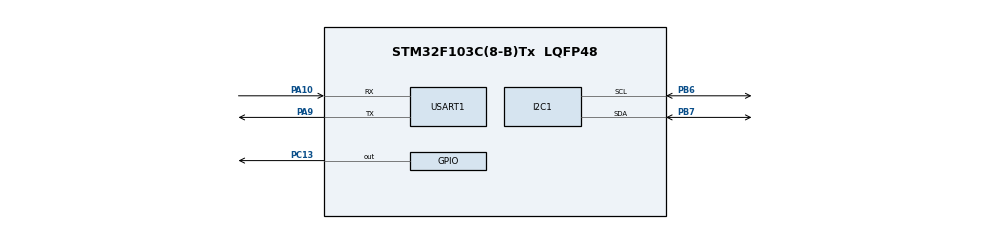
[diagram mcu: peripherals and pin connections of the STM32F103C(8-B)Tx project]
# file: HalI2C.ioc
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Mcu.Family=STM32F1
Mcu.Name=STM32F103C(8-B)Tx
Mcu.Package=LQFP48
NVIC.PriorityGroup=NVIC_PRIORITYGROUP_4
NVIC.USART1_IRQn=true\:0\:0\:false\:false\:true\:true\:true
PA10.Mode=Asynchronous
PA10.Signal=USART1_RX
PA13.Mode=Serial_Wire
PA13.Signal=SYS_JTMS-SWDIO
PA14.Mode=Serial_Wire
PA14.Signal=SYS_JTCK-SWCLK
PA9.Mode=Asynchronous
PA9.Signal=USART1_TX
PB6.Mode=I2C
PB6.Signal=I2C1_SCL
PB7.Mode=I2C
PB7.Signal=I2C1_SDA
PC13-TAMPER-RTC.PinState=GPIO_PIN_SET
PC13-TAMPER-RTC.Signal=GPIO_Output
ProjectManager.HeapSize=0x200
ProjectManager.StackSize=0x400
ProjectManager.TargetToolchain=Makefile
RCC.APB1Freq_Value=8000000
RCC.APB2Freq_Value=8000000
USART1.VirtualMode=VM_ASYNC
board=custom

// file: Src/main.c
/* USER CODE BEGIN Header */
/**
  ******************************************************************************
  * @file           : main.c
  * @brief          : Main program body
  ******************************************************************************
  * @attention
  *
  * <h2><center>&copy; Copyright (c) 2020 STMicroelectronics.
  * All rights reserved.</center></h2>
  *
  * This software component is licensed by ST under BSD 3-Clause license,
  * the "License"; You may not use this file except in compliance with the
  * License. You may obtain a copy of the License at:
  *                        opensource.org/licenses/BSD-3-Clause
  *
  ******************************************************************************
  */
/* USER CODE END Header */
#include "main.h"

/* USER CODE BEGIN Includes */
#include "rain64.h"
#include <string.h>
/* USER CODE END Includes */

/* USER CODE BEGIN PD */
#define OLED_ADDR 0x3c << 1
#define CMD_ADDR 0x00
#define DATA_ADDR 0x40

#define PIX_PER_COL 8
//#define PAGES_PER_SCREEN 4
#define PAGES_PER_SCREEN 8
#define COLS_PER_PAGE 128
#define WIDTH COLS_PER_PAGE
#define HEIGHT PIX_PER_COL * PAGES_PER_SCREEN
/* USER CODE END PD */

I2C_HandleTypeDef hi2c1;

UART_HandleTypeDef huart1;

void SystemClock_Config(void);
static void MX_GPIO_Init(void);
static void MX_USART1_UART_Init(void);
static void MX_I2C1_Init(void);

/* USER CODE BEGIN 0 */
void write_cmd_oled(uint8_t cmd)
{
    //Send command one byte at at time
    HAL_I2C_Mem_Write(&hi2c1,OLED_ADDR, CMD_ADDR, 1, &cmd, 1, 100);
}

void write_data_oled(uint8_t* dataBuffer, size_t dataSize)
{
    //Send command one byte at at time
    HAL_I2C_Mem_Write(&hi2c1,OLED_ADDR, DATA_ADDR, 1, dataBuffer, dataSize, 100);
}
/* USER CODE END 0 */

int main(void)
{

  /* MCU Configuration--------------------------------------------------------*/

  /* Reset of all peripherals, Initializes the Flash interface and the Systick. */
  HAL_Init();

  /* Configure the system clock */
  SystemClock_Config();

  /* Initialize all configured peripherals */
  MX_GPIO_Init();
  MX_USART1_UART_Init();
  MX_I2C1_Init();
  /* USER CODE BEGIN 2 */

  // For 32 lines
//  uint8_t mux_lines = 0x1f;
//  uint8_t com_conf = 0x02;
  // For 64 lines
   uint8_t mux_lines = 0x3f;
   uint8_t com_conf = 0x12;

  uint8_t turn_on = 0xAF;
  uint8_t turn_off = 0xAE;
  write_cmd_oled(turn_off);
  //Set Memory addressing type
  write_cmd_oled(0x20);
  write_cmd_oled(0x00);
  //Set memory page start
  write_cmd_oled(0xB0);
  //Mirroring
  write_cmd_oled(0xC8);
  write_cmd_oled(0xa1);

  //set columna low and high addr
  write_cmd_oled(0x00);
  write_cmd_oled(0x10);
  //Display start line : 0 -63 40 for 0
  write_cmd_oled(0x40);
  //Contrast
  write_cmd_oled(0x81);
  write_cmd_oled(0xFF);
  //Set mux
  write_cmd_oled(0xa8);
  write_cmd_oled(mux_lines);
  //Follow RAM
  write_cmd_oled(0xA4);
  //No offset
  write_cmd_oled(0xD3);
  write_cmd_oled(0x00);

  //timing
  //OScilattor freq
  write_cmd_oled(0xD5);
  write_cmd_oled(0xF0);
  //Pre-charge
  write_cmd_oled(0xD9);
  write_cmd_oled(0x22);
  //Com pins
  write_cmd_oled(0xDA);
  write_cmd_oled(com_conf);

  //Turn on
  //Vcomh
  write_cmd_oled(0xDB);
  write_cmd_oled(0x20);
  //Charge pump
  write_cmd_oled(0x8D);
  write_cmd_oled(0x14);
  write_cmd_oled(turn_on);
  HAL_GPIO_WritePin(GPIOC, GPIO_PIN_13, GPIO_PIN_SET);

  /* USER CODE END 2 */

  /* Infinite loop */
  /* USER CODE BEGIN WHILE */
  size_t buff_len = COLS_PER_PAGE*PAGES_PER_SCREEN; //128*4
  uint8_t buffer[buff_len];
  for(int j=0;j < buff_len; j++)
  {
   buffer[j]=0x01;
  }

  //Image?
  size_t line_len = 128;
  for(int k = 0 ; k<PAGES_PER_SCREEN; k++)
  {
  memcpy(buffer+k*128,raine+k*line_len,line_len);
  }
  /*
  memcpy(buffer,raine,line_len);
  memcpy(buffer+129,raine+line_len,line_len);
  memcpy(buffer+256,raine+2*line_len,line_len);
  memcpy(buffer+384,raine+3*line_len,line_len);
  */

  write_data_oled(buffer,buff_len);
  int state = 0;
  int i = 0;
  while (1)
  {
    /* USER CODE END WHILE */

    /* USER CODE BEGIN 3 */
    //write_cmd_oled(0xB0+j);
    //No i have no idea why i have tro write twice
    //If i do not skips every pair line
    HAL_Delay(100);
    HAL_GPIO_TogglePin(GPIOC,GPIO_PIN_13);
    //draw_line(i,buffer, buff_len);
    //write_data_oled(buffer,buff_len);
    //HAL_Delay(100);
    //write_data_oled(buffer,buff_len);
   // write_data_oled(buffer,buff_len);
   // write_data_oled(buffer,buff_len);
   // write_data_oled(buffer,buff_len);

  /* USER CODE END 3 */
  }
}

void SystemClock_Config(void)
{
  RCC_OscInitTypeDef RCC_OscInitStruct = {0};
  RCC_ClkInitTypeDef RCC_ClkInitStruct = {0};

  /** Initializes the RCC Oscillators according to the specified parameters
  * in the RCC_OscInitTypeDef structure.
  */
  RCC_OscInitStruct.OscillatorType = RCC_OSCILLATORTYPE_HSI;
  RCC_OscInitStruct.HSIState = RCC_HSI_ON;
  RCC_OscInitStruct.HSICalibrationValue = RCC_HSICALIBRATION_DEFAULT;
  RCC_OscInitStruct.PLL.PLLState = RCC_PLL_NONE;
  if (HAL_RCC_OscConfig(&RCC_OscInitStruct) != HAL_OK)
  {
    Error_Handler();
  }
  /** Initializes the CPU, AHB and APB buses clocks
  */
  RCC_ClkInitStruct.ClockType = RCC_CLOCKTYPE_HCLK|RCC_CLOCKTYPE_SYSCLK
                              |RCC_CLOCKTYPE_PCLK1|RCC_CLOCKTYPE_PCLK2;
  RCC_ClkInitStruct.SYSCLKSource = RCC_SYSCLKSOURCE_HSI;
  RCC_ClkInitStruct.AHBCLKDivider = RCC_SYSCLK_DIV1;
  RCC_ClkInitStruct.APB1CLKDivider = RCC_HCLK_DIV1;
  RCC_ClkInitStruct.APB2CLKDivider = RCC_HCLK_DIV1;

  if (HAL_RCC_ClockConfig(&RCC_ClkInitStruct, FLASH_LATENCY_0) != HAL_OK)
  {
    Error_Handler();
  }
}

static void MX_I2C1_Init(void)
{

  hi2c1.Instance = I2C1;
  hi2c1.Init.ClockSpeed = 100000;
  hi2c1.Init.DutyCycle = I2C_DUTYCYCLE_2;
  hi2c1.Init.OwnAddress1 = 0;
  hi2c1.Init.AddressingMode = I2C_ADDRESSINGMODE_7BIT;
  hi2c1.Init.DualAddressMode = I2C_DUALADDRESS_DISABLE;
  hi2c1.Init.OwnAddress2 = 0;
  hi2c1.Init.GeneralCallMode = I2C_GENERALCALL_DISABLE;
  hi2c1.Init.NoStretchMode = I2C_NOSTRETCH_DISABLE;
  if (HAL_I2C_Init(&hi2c1) != HAL_OK)
  {
    Error_Handler();
  }

}

static void MX_USART1_UART_Init(void)
{

  huart1.Instance = USART1;
  huart1.Init.BaudRate = 115200;
  huart1.Init.WordLength = UART_WORDLENGTH_8B;
  huart1.Init.StopBits = UART_STOPBITS_1;
  huart1.Init.Parity = UART_PARITY_NONE;
  huart1.Init.Mode = UART_MODE_TX_RX;
  huart1.Init.HwFlowCtl = UART_HWCONTROL_NONE;
  huart1.Init.OverSampling = UART_OVERSAMPLING_16;
  if (HAL_UART_Init(&huart1) != HAL_OK)
  {
    Error_Handler();
  }

}

static void MX_GPIO_Init(void)
{
  GPIO_InitTypeDef GPIO_InitStruct = {0};

  /* GPIO Ports Clock Enable */
  __HAL_RCC_GPIOC_CLK_ENABLE();
  __HAL_RCC_GPIOA_CLK_ENABLE();
  __HAL_RCC_GPIOB_CLK_ENABLE();

  /*Configure GPIO pin Output Level */
  HAL_GPIO_WritePin(GPIOC, GPIO_PIN_13, GPIO_PIN_SET);

  /*Configure GPIO pin : PC13 */
  GPIO_InitStruct.Pin = GPIO_PIN_13;
  GPIO_InitStruct.Mode = GPIO_MODE_OUTPUT_PP;
  GPIO_InitStruct.Pull = GPIO_NOPULL;
  GPIO_InitStruct.Speed = GPIO_SPEED_FREQ_LOW;
  HAL_GPIO_Init(GPIOC, &GPIO_InitStruct);

}

void Error_Handler(void)
{
}

/************************ (C) COPYRIGHT STMicroelectronics *****END OF FILE****/
